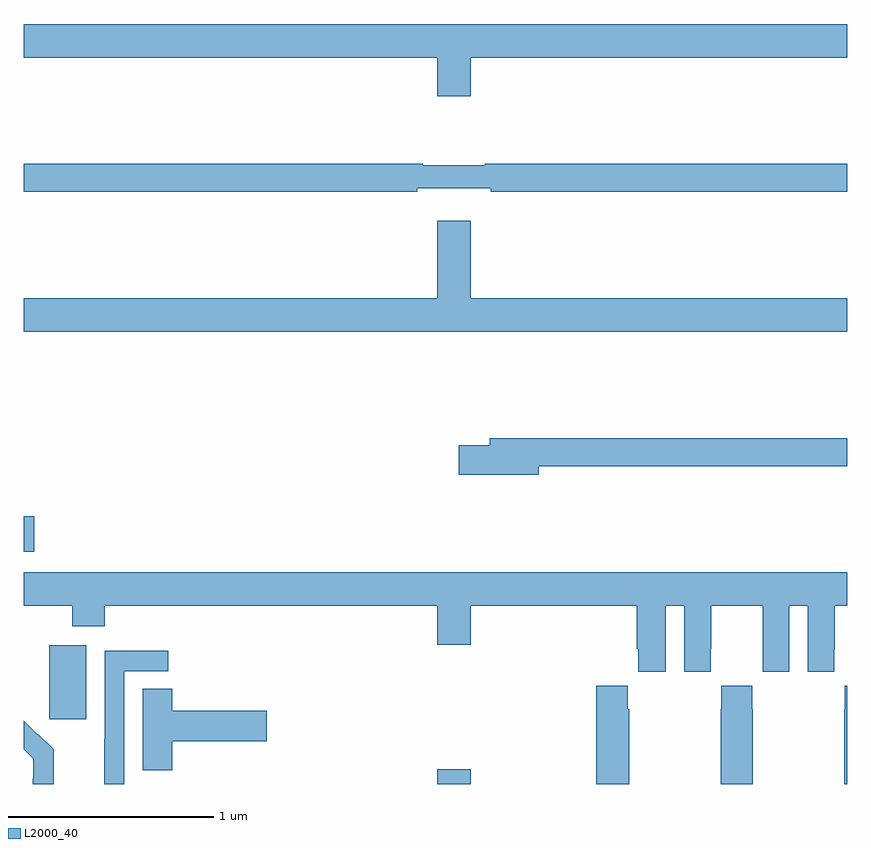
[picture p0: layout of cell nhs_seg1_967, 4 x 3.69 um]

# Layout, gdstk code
import gdstk
lib = gdstk.Library(unit=1e-6, precision=1e-09)
def R(c, l, rs):  # rectangles x0, y0, x1, y1
    for r in rs: c.add(gdstk.rectangle(r[:2], r[2:], *l))
def P(c, l, *ps):  # polygons
    for p in ps: c.add(gdstk.Polygon(p, *l))
L2000_40 = (2000, 40)

nhs_seg1_967 = lib.new_cell('nhs_seg1_967')
R(nhs_seg1_967, L2000_40, [(165.008,552.199,165.172,552.271), (163.124,552.513,163.303,552.874), (163,553.328,163.051,553.499)])
P(nhs_seg1_967, L2000_40, [(165.172,555.728),(167,555.728),(167,555.892),(163,555.892),(163,555.728),(165.008,555.728),(165.008,555.54),(165.172,555.54)],
  [(164.912,555.095),(165.268,555.095),(165.268,555.076),(167,555.076),(167,555.212),(165.239,555.212),(165.239,555.205),(164.939,555.205),(164.939,555.212),(163,555.212),(163,555.076),(164.912,555.076)],
  [(167,554.56),(165.172,554.56),(165.172,554.935),(165.008,554.935),(165.008,554.56),(163,554.56),(163,554.396),(167,554.396)],
  [(165.502,553.744),(167,553.744),(167,553.88),(165.263,553.88),(165.263,553.844),(165.114,553.844),(165.114,553.702),(165.502,553.702)],
  [(166.12,553.064),(166.208,553.064),(166.208,552.744),(166.338,552.744),(166.338,552.856),(166.339,552.856),(166.339,553.064),(166.589,553.064),(166.589,552.856),(166.59,552.856),(166.59,552.744),(166.72,552.744),(166.72,553.064),(166.808,553.064),(166.808,552.744),(166.938,552.744),(166.938,552.856),(166.939,552.856),(166.939,553.064),(167,553.064),(167,553.228),(163,553.228),(163,553.064),(163.234,553.064),(163.234,552.965),(163.394,552.965),(163.394,553.064),(165.008,553.064),(165.008,552.876),(165.172,552.876),(165.172,553.064),(165.977,553.064),(165.977,552.856),(165.986,552.856),(165.986,552.744),(166.12,552.744)],
  [(163.488,552.747),(163.702,552.747),(163.702,552.846),(163.392,552.846),(163.392,552.416),(163.39,552.416),(163.39,552.199),(163.488,552.199)],
  [(167,552.676),(166.989,552.676),(166.989,552.563),(166.987,552.563),(166.987,552.199),(167,552.199)],
  [(166.542,552.563),(166.539,552.563),(166.539,552.676),(166.389,552.676),(166.389,552.563),(166.387,552.563),(166.387,552.199),(166.542,552.199)],
  [(165.942,552.563),(165.935,552.563),(165.935,552.676),(165.782,552.676),(165.782,552.199),(165.942,552.199)],
  [(163.721,552.407),(164.179,552.407),(164.179,552.554),(163.721,552.554),(163.721,552.662),(163.577,552.662),(163.577,552.265),(163.721,552.265)],
  [(163.145,552.367),(163.068,552.444),(163.065,552.441),(163,552.507),(163,552.368),(163.046,552.322),(163.046,552.225),(163.044,552.225),(163.044,552.199),(163.145,552.199)])

lib.write_gds('nhs_seg1_967.gds')
